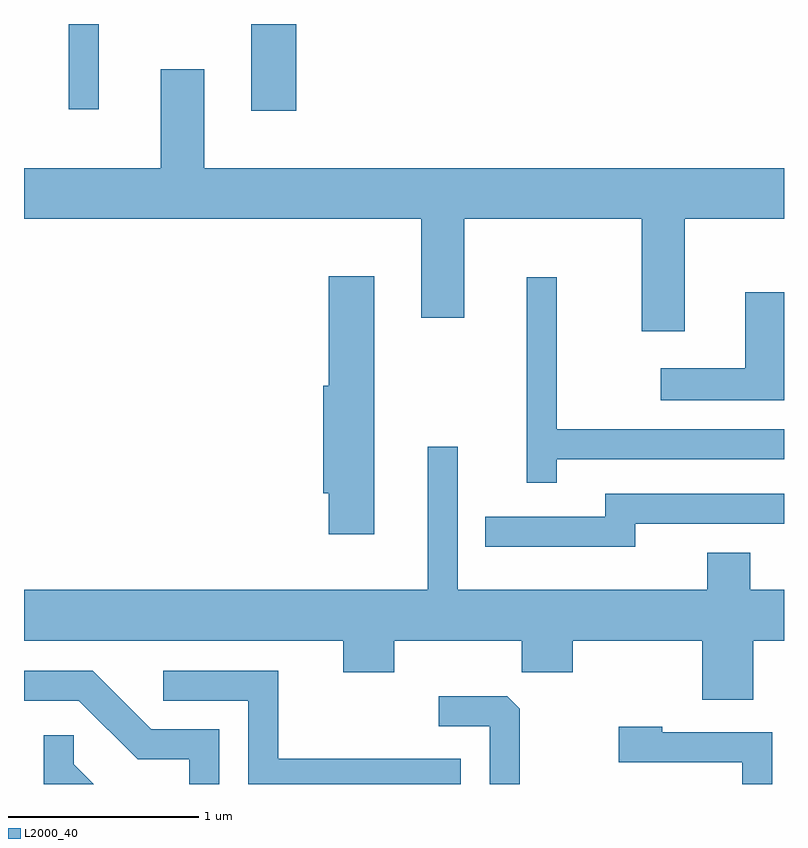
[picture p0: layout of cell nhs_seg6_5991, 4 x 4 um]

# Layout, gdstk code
import gdstk
lib = gdstk.Library(unit=1e-6, precision=1e-09)
def R(c, l, rs):  # rectangles x0, y0, x1, y1
    for r in rs: c.add(gdstk.rectangle(r[:2], r[2:], *l))
def P(c, l, *ps):  # polygons
    for p in ps: c.add(gdstk.Polygon(p, *l))
L2000_40 = (2000, 40)

nhs_seg6_5991 = lib.new_cell('nhs_seg6_5991')
R(nhs_seg6_5991, L2000_40, [(368.806,1561.706,369.044,1562.162), (367.846,1561.713,368.004,1562.162)])
P(nhs_seg6_5991, L2000_40, [(371.089,1561.136),(371.611,1561.136),(371.611,1561.404),(368.559,1561.404),(368.559,1561.924),(368.331,1561.924),(368.331,1561.404),(367.611,1561.404),(367.611,1561.136),(369.701,1561.136),(369.701,1560.616),(369.929,1560.616),(369.929,1561.136),(370.861,1561.136),(370.861,1560.546),(371.089,1560.546)],
  [(369.454,1560.834),(369.216,1560.834),(369.216,1560.259),(369.186,1560.259),(369.186,1559.691),(369.216,1559.691),(369.216,1559.476),(369.454,1559.476)],
  [(370.414,1559.871),(371.611,1559.871),(371.611,1560.029),(370.414,1560.029),(370.414,1560.828),(370.256,1560.828),(370.256,1559.748),(370.414,1559.748)],
  [(371.611,1560.749),(371.406,1560.749),(371.406,1560.349),(370.963,1560.349),(370.963,1560.181),(371.611,1560.181)],
  [(369.736,1559.938),(369.736,1559.184),(367.611,1559.184),(367.611,1558.916),(369.291,1558.916),(369.291,1558.751),(369.559,1558.751),(369.559,1558.916),(370.231,1558.916),(370.231,1558.751),(370.499,1558.751),(370.499,1558.916),(371.181,1558.916),(371.181,1558.606),(371.449,1558.606),(371.449,1558.916),(371.611,1558.916),(371.611,1559.184),(371.434,1559.184),(371.434,1559.379),(371.206,1559.379),(371.206,1559.184),(369.894,1559.184),(369.894,1559.938)],
  [(370.829,1559.531),(371.611,1559.531),(371.611,1559.689),(370.671,1559.689),(370.671,1559.569),(370.038,1559.569),(370.038,1559.411),(370.829,1559.411)],
  [(368.639,1558.449),(368.282,1558.449),(367.972,1558.759),(367.611,1558.759),(367.611,1558.601),(367.899,1558.601),(368.209,1558.291),(368.481,1558.291),(368.481,1558.162),(368.639,1558.162)],
  [(369.909,1558.294),(368.949,1558.294),(368.949,1558.759),(368.343,1558.759),(368.343,1558.601),(368.791,1558.601),(368.791,1558.162),(369.909,1558.162)],
  [(370.219,1558.559),(370.154,1558.624),(369.793,1558.624),(369.793,1558.466),(370.061,1558.466),(370.061,1558.162),(370.219,1558.162)],
  [(371.549,1558.434),(370.969,1558.434),(370.969,1558.464),(370.741,1558.464),(370.741,1558.276),(371.391,1558.276),(371.391,1558.162),(371.549,1558.162)],
  [(367.874,1558.267),(367.874,1558.418),(367.716,1558.418),(367.716,1558.162),(367.979,1558.162)])

lib.write_gds('nhs_seg6_5991.gds')
